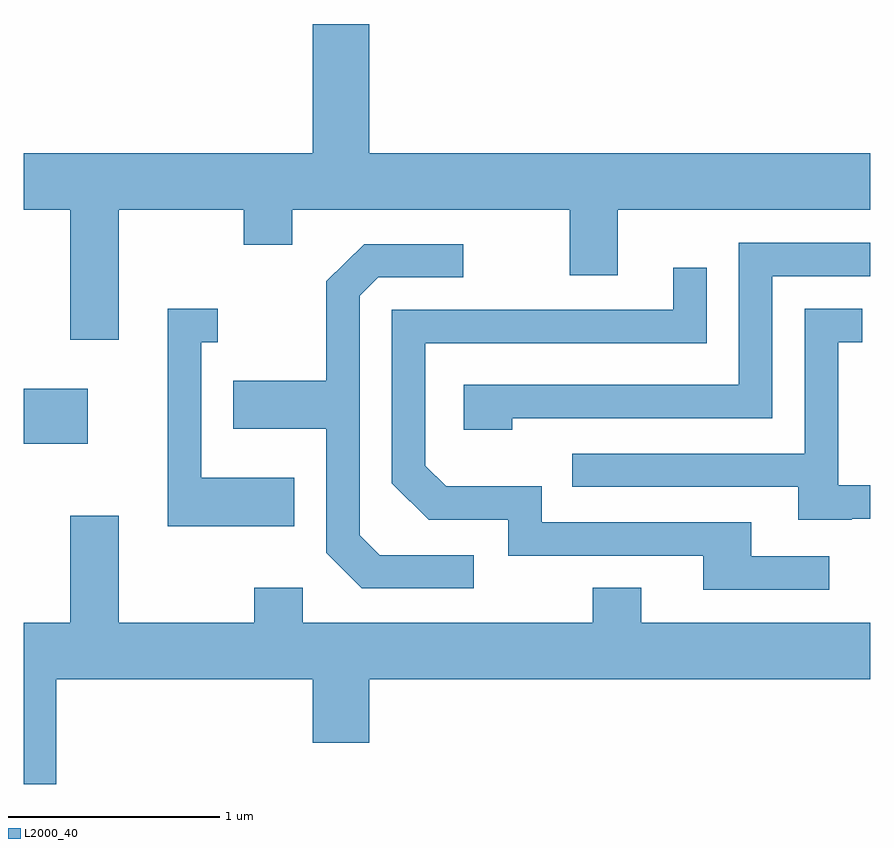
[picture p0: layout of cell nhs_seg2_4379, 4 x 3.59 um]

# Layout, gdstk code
import gdstk
lib = gdstk.Library(unit=1e-6, precision=1e-09)
def R(c, l, rs):  # rectangles x0, y0, x1, y1
    for r in rs: c.add(gdstk.rectangle(r[:2], r[2:], *l))
def P(c, l, *ps):  # polygons
    for p in ps: c.add(gdstk.Polygon(p, *l))
L2000_40 = (2000, 40)

nhs_seg2_4379 = lib.new_cell('nhs_seg2_4379')
R(nhs_seg2_4379, L2000_40, [(313.611,1069.411,313.914,1069.669)])
P(nhs_seg2_4379, L2000_40, [(314.059,1070.516),(314.651,1070.516),(314.651,1070.351),(314.879,1070.351),(314.879,1070.516),(316.191,1070.516),(316.191,1070.206),(316.419,1070.206),(316.419,1070.516),(317.611,1070.516),(317.611,1070.784),(315.244,1070.784),(315.244,1071.394),(314.976,1071.394),(314.976,1070.784),(313.611,1070.784),(313.611,1070.516),(313.831,1070.516),(313.831,1069.901),(314.059,1069.901)],
  [(315.919,1069.531),(317.149,1069.531),(317.149,1070.201),(317.611,1070.201),(317.611,1070.359),(316.991,1070.359),(316.991,1069.689),(315.691,1069.689),(315.691,1069.476),(315.919,1069.476)],
  [(315.738,1068.884),(315.292,1068.884),(315.199,1068.977),(315.199,1070.109),(315.287,1070.196),(315.688,1070.196),(315.688,1070.354),(315.219,1070.354),(315.041,1070.177),(315.041,1069.709),(314.601,1069.709),(314.601,1069.481),(315.041,1069.481),(315.041,1068.894),(315.209,1068.726),(315.738,1068.726)],
  [(317.418,1068.879),(317.049,1068.879),(317.049,1069.039),(316.059,1069.039),(316.059,1069.209),(315.607,1069.209),(315.509,1069.307),(315.509,1069.886),(316.839,1069.886),(316.839,1070.243),(316.681,1070.243),(316.681,1070.044),(315.351,1070.044),(315.351,1069.224),(315.524,1069.051),(315.901,1069.051),(315.901,1068.881),(316.821,1068.881),(316.821,1068.721),(317.418,1068.721)],
  [(317.525,1069.056),(317.611,1069.056),(317.611,1069.214),(317.459,1069.214),(317.459,1069.891),(317.573,1069.891),(317.573,1070.049),(317.301,1070.049),(317.301,1069.364),(316.203,1069.364),(316.203,1069.206),(317.271,1069.206),(317.271,1069.051),(317.525,1069.051)],
  [(314.889,1069.249),(314.449,1069.249),(314.449,1069.891),(314.528,1069.891),(314.528,1070.049),(314.291,1070.049),(314.291,1069.021),(314.889,1069.021)],
  [(313.764,1068.296),(314.976,1068.296),(314.976,1067.996),(315.244,1067.996),(315.244,1068.296),(317.611,1068.296),(317.611,1068.564),(316.529,1068.564),(316.529,1068.729),(316.301,1068.729),(316.301,1068.564),(314.929,1068.564),(314.929,1068.729),(314.701,1068.729),(314.701,1068.564),(314.059,1068.564),(314.059,1069.069),(313.831,1069.069),(313.831,1068.564),(313.611,1068.564),(313.611,1067.802),(313.764,1067.802)])

lib.write_gds('nhs_seg2_4379.gds')
